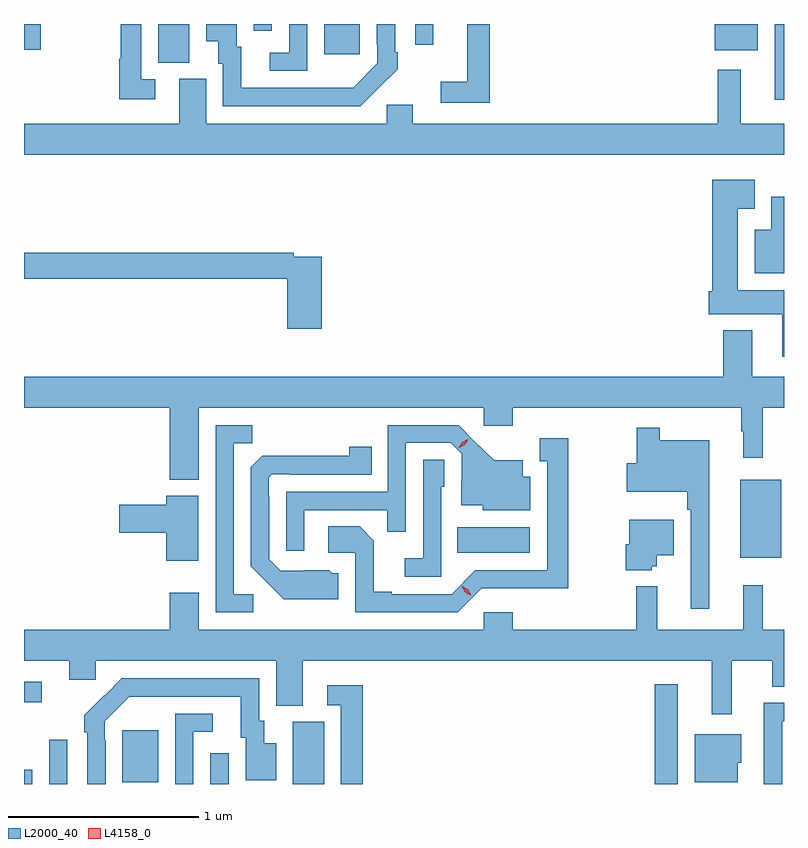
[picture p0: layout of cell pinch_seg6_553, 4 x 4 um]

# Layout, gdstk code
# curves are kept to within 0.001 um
import gdstk
lib = gdstk.Library(unit=1e-6, precision=1e-09)
def R(c, l, rs):  # rectangles x0, y0, x1, y1
    for r in rs: c.add(gdstk.rectangle(r[:2], r[2:], *l))
def P(c, l, *ps):  # polygons
    for p in ps: c.add(gdstk.Polygon(p, *l))
L2000_40 = (2000, 40)
L4158_0 = (4158, 0)

pinch_seg6_553 = lib.new_cell('pinch_seg6_553')
R(pinch_seg6_553, L2000_40, [(599.955,960.008,599.998,960.082), (600.087,960.008,600.183,960.241), (600.936,960.008,601.032,960.169), (601.37,960.008,601.534,960.336), (603.276,960.008,603.397,960.532), (600.473,960.017,600.661,960.292), (599.955,960.438,600.049,960.546), (603.725,961.199,603.94,961.609), (602.236,961.226,602.617,961.36), (603.905,963.609,603.955,964.008), (600.662,963.805,600.826,964.008), (601.535,963.849,601.723,964.008), (603.59,963.869,603.817,964.008), (599.955,963.873,600.042,964.008), (602.013,963.9,602.109,964.008), (601.164,963.972,601.26,964.008)])
P(pinch_seg6_553, L2000_40, [(601.817,963.667),(601.818,963.666),(601.923,963.771),(601.923,963.859),(601.908,963.859),(601.908,964.008),(601.812,964.008),(601.812,963.901),(601.815,963.901),(601.815,963.801),(601.687,963.673),(601.583,963.672),(601.099,963.672),(601.099,963.888),(601.075,963.888),(601.075,964.008),(600.914,964.008),(600.914,963.917),(600.977,963.917),(600.977,963.798),(601.002,963.798),(601.002,963.576),(601.726,963.576)],
  [(601.446,964.008),(601.35,964.008),(601.35,963.858),(601.248,963.858),(601.248,963.762),(601.446,963.762)],
  [(600.646,963.717),(600.573,963.717),(600.573,964.008),(600.465,964.008),(600.465,963.824),(600.457,963.824),(600.457,963.612),(600.646,963.612)],
  [(602.405,964.008),(602.288,964.008),(602.288,963.703),(602.148,963.703),(602.148,963.594),(602.405,963.594)],
  [(603.955,963.484),(603.727,963.484),(603.727,963.766),(603.606,963.766),(603.606,963.484),(602.002,963.484),(602.002,963.582),(601.863,963.582),(601.863,963.484),(600.913,963.484),(600.913,963.72),(600.773,963.72),(600.773,963.484),(599.955,963.484),(599.955,963.32),(603.955,963.32)],
  [(603.955,962.608),(603.712,962.608),(603.712,963.035),(603.802,963.035),(603.802,963.187),(603.578,963.187),(603.578,962.601),(603.56,962.601),(603.56,962.48),(603.947,962.48),(603.947,962.256),(603.955,962.256)],
  [(603.955,963.1),(603.887,963.1),(603.887,962.926),(603.8,962.926),(603.8,962.696),(603.955,962.696)],
  [(601.523,962.784),(601.376,962.784),(601.376,962.804),(599.955,962.804),(599.955,962.668),(601.34,962.668),(601.34,962.403),(601.523,962.403)],
  [(599.955,961.988),(600.722,961.988),(600.722,961.61),(600.874,961.61),(600.874,961.988),(602.376,961.988),(602.376,961.893),(602.528,961.893),(602.528,961.988),(603.729,961.988),(603.729,961.865),(603.74,961.865),(603.74,961.725),(603.842,961.725),(603.842,961.988),(603.955,961.988),(603.955,962.152),(603.787,962.152),(603.787,962.395),(603.635,962.395),(603.635,962.152),(599.955,962.152)],
  [(601.431,961.449),(601.867,961.449),(601.867,961.336),(601.965,961.336),(601.965,961.803),(602.202,961.803),(602.259,961.746),(602.259,961.604),(602.255,961.604),(602.255,961.475),(602.37,961.475),(602.37,961.448),(602.62,961.448),(602.62,961.624),(602.581,961.624),(602.581,961.711),(602.429,961.711),(602.242,961.896),(601.869,961.896),(601.869,961.545),(601.335,961.545),(601.335,961.236),(601.431,961.236)],
  [(601.162,961.008),(601.059,961.008),(601.059,961.801),(601.155,961.801),(601.155,961.896),(600.963,961.896),(600.963,960.912),(601.162,960.912)],
  [(603.562,961.816),(603.301,961.816),(603.301,961.882),(603.18,961.882),(603.18,961.695),(603.128,961.695),(603.128,961.547),(603.445,961.547),(603.445,961.451),(603.465,961.451),(603.465,960.93),(603.562,960.93)],
  [(602.364,961.038),(602.819,961.037),(602.819,961.828),(602.669,961.828),(602.669,961.707),(602.708,961.707),(602.708,961.134),(602.331,961.134),(602.205,961.008),(601.891,961.008),(601.891,961.021),(601.797,961.021),(601.797,961.288),(601.721,961.364),(601.557,961.364),(601.557,961.224),(601.698,961.224),(601.698,960.912),(602.238,960.912)],
  [(601.609,961.116),(601.578,961.116),(601.562,961.132),(601.305,961.131),(601.245,961.191),(601.245,961.52),(601.242,961.52),(601.242,961.62),(601.26,961.638),(601.36,961.638),(601.36,961.635),(601.784,961.635),(601.784,961.783),(601.666,961.783),(601.666,961.736),(601.208,961.735),(601.149,961.676),(601.149,961.154),(601.321,960.98),(601.609,960.98)],
  [(602.151,961.572),(602.166,961.572),(602.166,961.715),(602.055,961.715),(602.055,961.195),(601.959,961.195),(601.959,961.098),(602.151,961.098)],
  [(600.871,961.525),(600.704,961.525),(600.704,961.478),(600.456,961.478),(600.456,961.331),(600.704,961.331),(600.704,961.182),(600.871,961.182)],
  [(603.258,961.155),(603.286,961.155),(603.286,961.211),(603.376,961.211),(603.376,961.399),(603.14,961.399),(603.14,961.269),(603.121,961.269),(603.121,961.133),(603.258,961.133)],
  [(603.679,960.656),(603.893,960.656),(603.893,960.52),(603.955,960.52),(603.955,960.82),(603.842,960.82),(603.842,961.054),(603.74,961.054),(603.74,960.82),(603.287,960.82),(603.287,961.048),(603.177,961.048),(603.177,960.82),(602.528,960.82),(602.528,960.913),(602.376,960.913),(602.376,960.82),(600.874,960.82),(600.874,961.015),(600.722,961.015),(600.722,960.82),(599.955,960.82),(599.955,960.656),(600.194,960.656),(600.194,960.558),(600.333,960.558),(600.333,960.656),(601.283,960.656),(601.283,960.421),(601.423,960.421),(601.423,960.656),(603.575,960.656),(603.575,960.375),(603.679,960.375)],
  [(600.384,960.239),(600.381,960.239),(600.381,960.339),(600.51,960.468),(601.097,960.468),(601.097,960.252),(601.121,960.252),(601.121,960.027),(601.282,960.027),(601.282,960.223),(601.219,960.223),(601.219,960.342),(601.194,960.342),(601.194,960.564),(600.47,960.564),(600.273,960.369),(600.273,960.281),(600.288,960.281),(600.288,960.008),(600.384,960.008)],
  [(601.739,960.529),(601.551,960.529),(601.551,960.423),(601.623,960.423),(601.623,960.008),(601.739,960.008)],
  [(603.945,960.339),(603.955,960.339),(603.955,960.435),(603.849,960.435),(603.849,960.008),(603.945,960.008)],
  [(600.846,960.282),(600.949,960.282),(600.949,960.378),(600.75,960.378),(600.75,960.008),(600.846,960.008)],
  [(603.712,960.12),(603.73,960.12),(603.73,960.271),(603.485,960.271),(603.485,960.017),(603.712,960.017)])
P(pinch_seg6_553, L4158_0, [(602.31,960.999),(602.278,961.017),(602.26,961.05),(602.26,961.05),(602.261,961.05),(602.292,961.031),(602.31,960.999),(602.31,960.999)],
  [(602.244,961.777),(602.244,961.778),(602.261,961.807),(602.291,961.823),(602.292,961.823),(602.292,961.822),(602.275,961.793),(602.245,961.777)])

lib.write_gds('pinch_seg6_553.gds')
